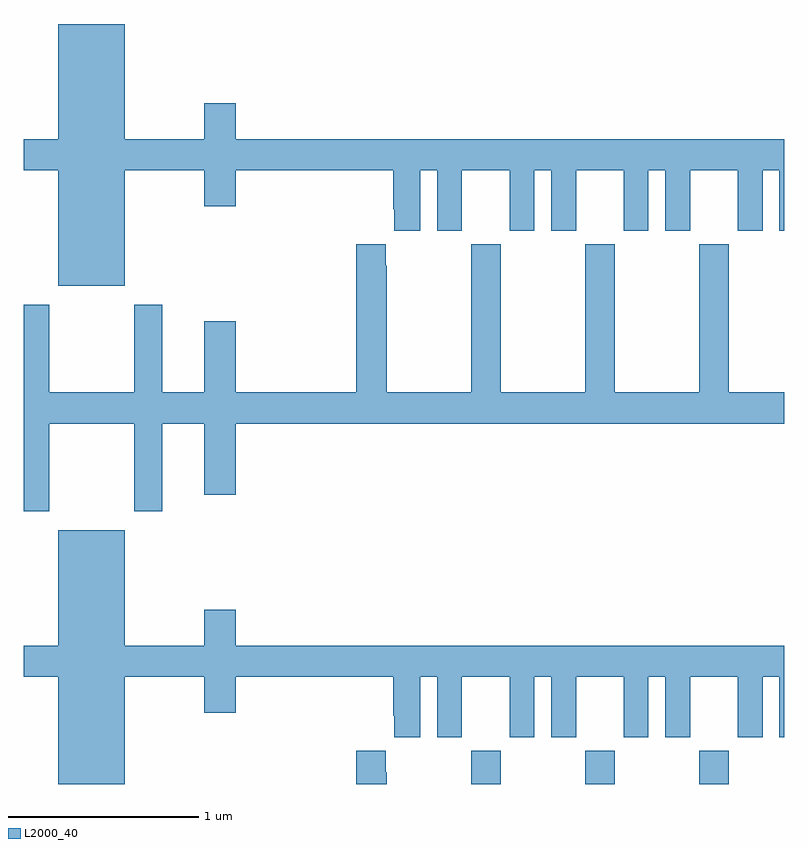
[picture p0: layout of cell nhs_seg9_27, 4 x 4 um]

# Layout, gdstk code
import gdstk
lib = gdstk.Library(unit=1e-6, precision=1e-09)
def R(c, l, rs):  # rectangles x0, y0, x1, y1
    for r in rs: c.add(gdstk.rectangle(r[:2], r[2:], *l))
def A(c, l, x, y, w, h, nx, ny, dx, dy):  # array of equal rectangles
    R(c, l, [(x+i*dx, y+j*dy, x+i*dx+w, y+j*dy+h) for i in range(nx) for j in range(ny)])
def P(c, l, *ps):  # polygons
    for p in ps: c.add(gdstk.Polygon(p, *l))
L2000_40 = (2000, 40)

nhs_seg9_27 = lib.new_cell('nhs_seg9_27')
A(nhs_seg9_27, L2000_40, 113.353, 1218.5, 0.155, 0.176, 3, 1, 0.6, 0)
P(nhs_seg9_27, L2000_40, [(111.532,1221.728),(111.95,1221.728),(111.95,1221.54),(112.114,1221.54),(112.114,1221.728),(112.943,1221.728),(112.943,1221.523),(112.949,1221.523),(112.949,1221.411),(113.086,1221.411),(113.086,1221.728),(113.174,1221.728),(113.174,1221.411),(113.305,1221.411),(113.305,1221.728),(113.555,1221.728),(113.555,1221.411),(113.686,1221.411),(113.686,1221.728),(113.774,1221.728),(113.774,1221.411),(113.905,1221.411),(113.905,1221.728),(114.155,1221.728),(114.155,1221.411),(114.286,1221.411),(114.286,1221.728),(114.374,1221.728),(114.374,1221.411),(114.505,1221.411),(114.505,1221.728),(114.755,1221.728),(114.755,1221.411),(114.886,1221.411),(114.886,1221.728),(114.974,1221.728),(114.974,1221.411),(115,1221.411),(115,1221.892),(112.114,1221.892),(112.114,1222.081),(111.95,1222.081),(111.95,1221.892),(111.532,1221.892),(111.532,1222.498),(111.182,1222.498),(111.182,1221.892),(111,1221.892),(111,1221.728),(111.182,1221.728),(111.182,1221.122),(111.532,1221.122)],
  [(111.135,1220.396),(111.58,1220.396),(111.58,1219.935),(111.727,1219.935),(111.727,1220.396),(111.95,1220.396),(111.95,1220.022),(112.114,1220.022),(112.114,1220.396),(115,1220.396),(115,1220.56),(114.708,1220.56),(114.708,1221.34),(114.553,1221.34),(114.553,1220.56),(114.108,1220.56),(114.108,1221.34),(113.953,1221.34),(113.953,1220.56),(113.508,1220.56),(113.508,1221.34),(113.353,1221.34),(113.353,1220.56),(112.908,1220.56),(112.908,1221.227),(112.903,1221.227),(112.903,1221.34),(112.748,1221.34),(112.748,1220.56),(112.114,1220.56),(112.114,1220.935),(111.95,1220.935),(111.95,1220.56),(111.727,1220.56),(111.727,1221.022),(111.58,1221.022),(111.58,1220.56),(111.135,1220.56),(111.135,1221.022),(111,1221.022),(111,1219.935),(111.135,1219.935)],
  [(111.532,1219.064),(111.95,1219.064),(111.95,1218.876),(112.114,1218.876),(112.114,1219.064),(112.943,1219.064),(112.943,1218.859),(112.949,1218.859),(112.949,1218.747),(113.086,1218.747),(113.086,1219.064),(113.174,1219.064),(113.174,1218.747),(113.305,1218.747),(113.305,1219.064),(113.555,1219.064),(113.555,1218.747),(113.686,1218.747),(113.686,1219.064),(113.774,1219.064),(113.774,1218.747),(113.905,1218.747),(113.905,1219.064),(114.155,1219.064),(114.155,1218.747),(114.286,1218.747),(114.286,1219.064),(114.374,1219.064),(114.374,1218.747),(114.505,1218.747),(114.505,1219.064),(114.755,1219.064),(114.755,1218.747),(114.886,1218.747),(114.886,1219.064),(114.974,1219.064),(114.974,1218.747),(115,1218.747),(115,1219.228),(112.114,1219.228),(112.114,1219.417),(111.95,1219.417),(111.95,1219.228),(111.532,1219.228),(111.532,1219.834),(111.182,1219.834),(111.182,1219.228),(111,1219.228),(111,1219.064),(111.182,1219.064),(111.182,1218.5),(111.532,1218.5)],
  [(112.908,1218.563),(112.903,1218.563),(112.903,1218.676),(112.748,1218.676),(112.748,1218.5),(112.908,1218.5)])

lib.write_gds('nhs_seg9_27.gds')
